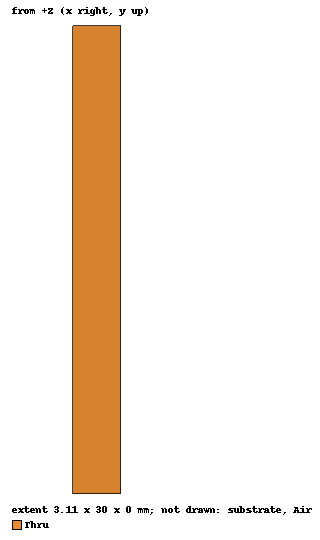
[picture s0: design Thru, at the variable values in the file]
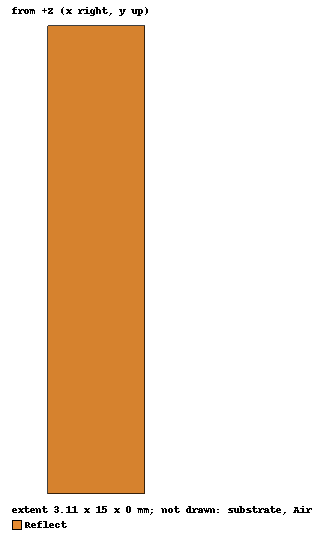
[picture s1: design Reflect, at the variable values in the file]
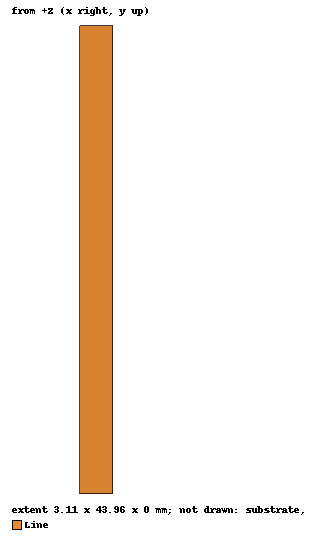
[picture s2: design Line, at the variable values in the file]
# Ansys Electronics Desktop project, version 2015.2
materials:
  vacuum: permittivity=1
  FR4_epoxy: permittivity=4.4 dielectric_loss_tangent=0.02
  FR4_epoxy_4.1: permittivity=4.1 dielectric_loss_tangent=0.01

design Thru (HFSS, DrivenModal, model units mm)
options: Calculate_Lossy_Dielectrics
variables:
  subx = 40mm
  suby = thru_length
  subh = 62mil
  line_width = 3.11mm
  thru_length = 30mm
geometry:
  substrate [FR4_epoxy_4.1] = box(corner=(-subx/2, 0mm, 0mm), size=(subx, suby, -subh))
  Thru = rectangle(corner=(-line_width/2, 0mm, 0mm), x_size=line_width, y_size=thru_length)
  AirBox [vacuum] = box(corner=(-subx/2, 0mm, 0mm), size=(subx, suby, 22mm))
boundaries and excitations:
  Rad1: Radiation Faces=substrate.face(-x, +x) AirBox.face(+z, -x, +x)
  PerfE1: Perfect E Objects=Thru
  1: Wave Port Faces=substrate.face(-y) AirBox.face(-y) NumModes=1 DeembedDist=15mm Modes{Mode1{CharImp=Zpi}}
  2: Wave Port Faces=substrate.face(+y) AirBox.face(+y) NumModes=1 DeembedDist=15mm Modes{Mode1{CharImp=Zpi}}
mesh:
  initial mesh: GlobalSurfApproximation{SurfDevChoice=0 NormalDevChoice=1 AspectRatioChoice=1 SetFacePreservationLevel=0}
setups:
  Setup1: HfssDriven Frequency=2.5GHz MaxDeltaS=0.01 MaximumPasses=25 MinimumPasses=1 MinimumConvergedPasses=2 PercentRefinement=30 BasisOrder=1 PortAccuracy=2
    sweep Sweep: 1GHz to 5GHz step 0.001GHz; Type=Fast SaveFields
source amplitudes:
  1:1: 1W 0deg
  2:1: 0W 0deg
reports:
  S11_S21_dB: dB(S(1,1)), dB(S(2,1)) vs Freq on Setup1 : Sweep; markers m1 at 3GHz
  S21_Phase: cang_deg(S(2,1)) vs Freq on Setup1 : Sweep; markers m1 at 3GHz

design Reflect (HFSS, DrivenModal, model units mm)
options: Calculate_Lossy_Dielectrics
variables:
  subx = 40mm
  suby = 2*reflect_length
  subh = 62mil
  line_width = 3.11mm
  reflect_length = 15mm
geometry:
  substrate [FR4_epoxy_4.1] = box(corner=(-subx/2, 0mm, 0mm), size=(subx, suby, -subh))
  Reflect = rectangle(corner=(-line_width/2, 0mm, 0mm), x_size=line_width, y_size=reflect_length)
  AirBox [vacuum] = box(corner=(-subx/2, 0mm, 0mm), size=(subx, suby, 22mm))
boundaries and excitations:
  Rad1: Radiation Faces=substrate.face(-x, +y, +x) AirBox.face(+z, -x, +y, +x)
  PerfE1: Perfect E Objects=Reflect
  1: Wave Port Faces=substrate.face(-y) AirBox.face(-y) NumModes=1 DeembedDist=15mm Modes{Mode1{CharImp=Zpi}}
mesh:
  initial mesh: GlobalSurfApproximation{SurfDevChoice=0 NormalDevChoice=1 AspectRatioChoice=1 SetFacePreservationLevel=0}
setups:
  Setup1: HfssDriven Frequency=2.5GHz MaxDeltaS=0.01 MaximumPasses=25 MinimumPasses=1 MinimumConvergedPasses=2 PercentRefinement=30 BasisOrder=1 PortAccuracy=2
    sweep Sweep: 1GHz to 5GHz step 0.001GHz; Type=Fast SaveFields
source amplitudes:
  1:1: 1W 0deg
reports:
  Im(Z): im(Z(1,1)) vs Freq on Setup1 : Sweep
  S11_dB: dB(S(1,1)) vs Freq on Setup1 : Sweep [line_width=all reflect_length=all]

design Line (HFSS, DrivenModal, model units mm)
options: Calculate_Lossy_Dielectrics
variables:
  subx = 40mm
  suby = line_length
  subh = 62mil
  line_width = 3.11mm
  line_length = 43.96mm
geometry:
  substrate [FR4_epoxy_4.1] = box(corner=(-subx/2, 0mm, 0mm), size=(subx, suby, -subh))
  Line = rectangle(corner=(-line_width/2, 0mm, 0mm), x_size=line_width, y_size=line_length)
  AirBox [vacuum] = box(corner=(-subx/2, 0mm, 0mm), size=(subx, suby, 22mm))
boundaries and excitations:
  Rad1: Radiation Faces=substrate.face(-x, +x) AirBox.face(+z, -x, +x)
  PerfE1: Perfect E Objects=Line
  1: Wave Port Faces=substrate.face(-y) AirBox.face(-y) NumModes=1 DeembedDist=15mm Modes{Mode1{CharImp=Zpi}}
  2: Wave Port Faces=substrate.face(+y) AirBox.face(+y) NumModes=1 DeembedDist=15mm Modes{Mode1{CharImp=Zpi}}
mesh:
  initial mesh: GlobalSurfApproximation{SurfDevChoice=0 NormalDevChoice=1 AspectRatioChoice=1 SetFacePreservationLevel=0}
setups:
  Setup1: HfssDriven Frequency=2.5GHz MaxDeltaS=0.01 MaximumPasses=25 MinimumPasses=1 MinimumConvergedPasses=2 PercentRefinement=30 BasisOrder=1 PortAccuracy=2
    sweep Sweep: 1GHz to 5GHz step 0.001GHz; Type=Fast SaveFields
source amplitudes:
  1:1: 1W 0deg
  2:1: 0W 0deg
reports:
  S11_S21_dB: dB(S(1,1)), dB(S(2,1)) vs Freq on Setup1 : Sweep
  S21_Phase: cang_deg(S(2,1)) vs Freq on Setup1 : Sweep; markers m1 at 3GHz
